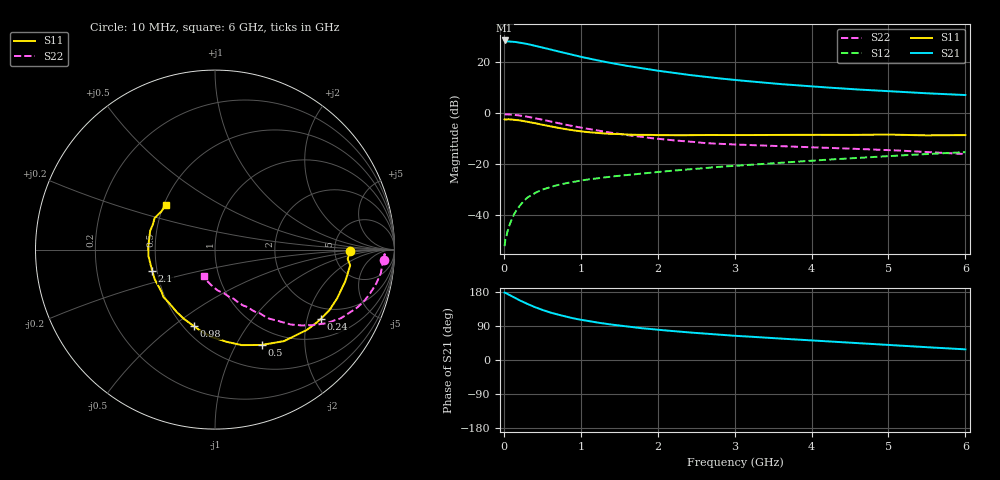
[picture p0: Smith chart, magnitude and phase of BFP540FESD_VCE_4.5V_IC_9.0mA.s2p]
! Infineon Technologies  Discrete & RF Semiconductors
! BFP540FESD
! VCE =  4.5 V,  IC =  9.0 mA
! Common Emitter S-Parameters:  Nov 2015
# GHz  S  MA  R  50
!  f  S11  S21  S12  S22
! GHz  MAG  ANG  MAG  ANG  MAG  ANG  MAG  ANG
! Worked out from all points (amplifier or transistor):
!   210 points, 10 MHz to 6 GHz, reference 50 ohm
!   highest |S21| = 28.4 dB at 10 MHz (marker M1)
!   |S21| within 3 dB of that: start of sweep to 537 MHz
!   unconditionally stable (mu >= 1): start of sweep to 14.45 MHz; 2.289 GHz to end of sweep
!   at 185 MHz: K = 0.30, MSG = 32.4 dB, |S12| = -37.1 dB
!   at 1.52 GHz: K = 0.81, MSG = 21.7 dB, |S12| = -24.5 dB
!   at 6 GHz: K = 1.23, MAG = 8.2 dB, |S12| = -15.3 dB
!   S11 on the Smith chart (normalised r, x): 10 MHz: 7.12, -0.17; 240 MHz: 1.59, -2.44; 500 MHz: 0.78, -1.28; 980 MHz: 0.56, -0.60; 2.1 GHz: 0.47, -0.13; 6 GHz: 0.51, +0.29
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0.01  0.7538 -0.4  26.23 177.8  0.0025 18.6  0.9408 -3.4
0.02  0.7411 -4.0  25.23 177.2  0.0034 29.5  0.946 -1.5
0.05  0.7582 -6.7  25.23 174.1  0.005 60.8  0.9382 -3.9
0.15  0.7327 -21.8  24.56 163.5  0.0117 70.7  0.9175 -12.0
0.24  0.7052 -33.1  23.31 154.3  0.0176 67.7  0.8813 -18.6
0.3  0.6802 -41.1  22.48 148.5  0.0219 65.4  0.852 -22.6
0.4  0.6389 -52.9  20.84 139.8  0.027 62.7  0.799 -28.6
0.5  0.5912 -64.0  19.22 132.2  0.0319 59.4  0.7405 -33.7
0.6  0.5528 -74.3  17.54 125.5  0.0355 58.0  0.6865 -37.8
0.7  0.5175 -82.9  16.13 120.0  0.0392 55.3  0.6399 -41.3
0.82  0.4804 -93.9  14.56 113.8  0.0429 54.1  0.5853 -45.1
0.98  0.4428 -105.3  12.78 107.0  0.0474 52.4  0.5264 -48.8
1.02  0.4352 -108.1  12.39 105.5  0.0485 52.2  0.5134 -49.8
1.2  0.4096 -120.9  10.82 99.2  0.0525 51.6  0.4608 -53.5
1.46  0.3901 -135.2  9.129 91.9  0.0585 50.6  0.3992 -58.2
2.02  0.37 -159.2  6.669 79.5  0.0709 49.6  0.312 -67.3
2.1  0.3692 -161.1  6.417 78.1  0.0727 49.4  0.3035 -68.1
2.6  0.3728 -174.6  5.139 69.8  0.0837 48.6  0.2592 -76.2
3.1  0.3717 175.3  4.295 62.8  0.0952 47.5  0.2399 -81.6
4.1  0.3752 162.6  3.236 50.4  0.1199 44.8  0.2115 -91.6
5.1  0.3765 151.0  2.625 38.5  0.1468 39.4  0.1861 -101.1
6  0.3706 138.0  2.249 28.1  0.1719 33.8  0.1579 -112.9
